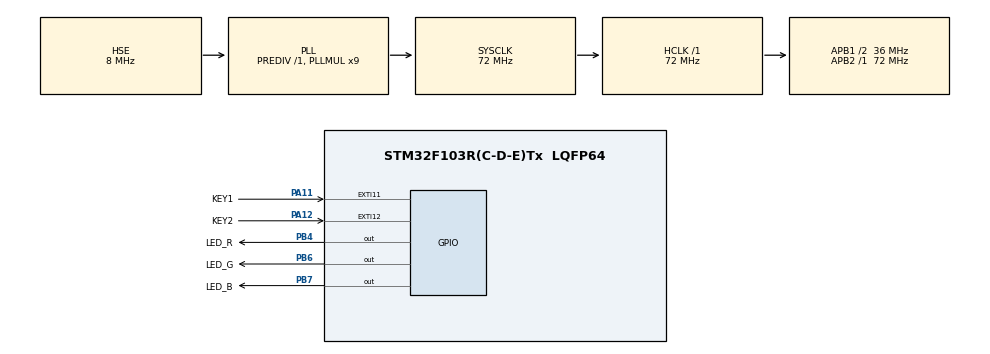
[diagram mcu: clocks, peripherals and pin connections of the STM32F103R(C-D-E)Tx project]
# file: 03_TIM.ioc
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Mcu.Family=STM32F1
Mcu.Name=STM32F103R(C-D-E)Tx
Mcu.Package=LQFP64
NVIC.EXTI15_10_IRQn=true\:0\:0\:false\:false\:true\:true\:true\:true
NVIC.PriorityGroup=NVIC_PRIORITYGROUP_4
NVIC.TIM1_UP_IRQn=true\:0\:0\:false\:false\:true\:true\:true\:true
PA11.GPIO_Label=KEY1
PA11.GPIO_ModeDefaultEXTI=GPIO_MODE_IT_RISING_FALLING
PA11.GPIO_PuPd=GPIO_PULLUP
PA11.Signal=GPXTI11
PA12.GPIO_Label=KEY2
PA12.GPIO_ModeDefaultEXTI=GPIO_MODE_IT_RISING_FALLING
PA12.GPIO_PuPd=GPIO_PULLUP
PA12.Signal=GPXTI12
PA13.Mode=Serial_Wire
PA13.Signal=SYS_JTMS-SWDIO
PA14.Mode=Serial_Wire
PA14.Signal=SYS_JTCK-SWCLK
PB4.GPIO_Label=LED_R
PB4.GPIO_PuPd=GPIO_PULLUP
PB4.PinState=GPIO_PIN_SET
PB4.Signal=GPIO_Output
PB6.GPIO_Label=LED_G
PB6.GPIO_PuPd=GPIO_PULLUP
PB6.PinState=GPIO_PIN_SET
PB6.Signal=GPIO_Output
PB7.GPIO_Label=LED_B
PB7.GPIO_PuPd=GPIO_PULLUP
PB7.PinState=GPIO_PIN_SET
PB7.Signal=GPIO_Output
PD0-OSC_IN.Mode=HSE-External-Oscillator
PD0-OSC_IN.Signal=RCC_OSC_IN
PD1-OSC_OUT.Mode=HSE-External-Oscillator
PD1-OSC_OUT.Signal=RCC_OSC_OUT
ProjectManager.HeapSize=0x200
ProjectManager.StackSize=0x400
ProjectManager.TargetToolchain=MDK-ARM V5.32
RCC.AHBFreq_Value=72000000
RCC.APB1CLKDivider=RCC_HCLK_DIV2
RCC.APB1Freq_Value=36000000
RCC.APB1TimFreq_Value=72000000
RCC.APB2Freq_Value=72000000
RCC.APB2TimFreq_Value=72000000
RCC.HCLKFreq_Value=72000000
RCC.PLLMUL=RCC_PLL_MUL9
RCC.PLLSourceVirtual=RCC_PLLSOURCE_HSE
RCC.SYSCLKFreq_VALUE=72000000
RCC.SYSCLKSource=RCC_SYSCLKSOURCE_PLLCLK
RCC.USBFreq_Value=72000000
TIM1.AutoReloadPreload=TIM_AUTORELOAD_PRELOAD_ENABLE
TIM1.Period=9999
TIM1.Prescaler=71
VP_TIM1_VS_ClockSourceINT.Mode=Internal
board=custom

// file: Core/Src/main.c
/* USER CODE BEGIN Header */
/**
  ******************************************************************************
  * @file           : main.c
  * @brief          : Main program body
  ******************************************************************************
  * @attention
  *
  * Copyright (c) 2025 STMicroelectronics.
  * All rights reserved.
  *
  * This software is licensed under terms that can be found in the LICENSE file
  * in the root directory of this software component.
  * If no LICENSE file comes with this software, it is provided AS-IS.
  *
  ******************************************************************************
  */
/* USER CODE END Header */
#include "main.h"
#include "tim.h"
#include "gpio.h"

void SystemClock_Config(void);

int main(void)
{

  /* MCU Configuration--------------------------------------------------------*/

  /* Reset of all peripherals, Initializes the Flash interface and the Systick. */
  HAL_Init();

  /* Configure the system clock */
  SystemClock_Config();

  /* Initialize all configured peripherals */
  MX_GPIO_Init();
  MX_TIM1_Init();
  /* USER CODE BEGIN 2 */
  HAL_TIM_Base_Start_IT(&htim1);
  /* USER CODE END 2 */

  /* Infinite loop */
  /* USER CODE BEGIN WHILE */
  while (1)
  {

    HAL_GPIO_TogglePin(LED_G_GPIO_Port,LED_G_Pin);
    HAL_Delay(100);
    /* USER CODE END WHILE */

  }
}

void SystemClock_Config(void)
{
  RCC_OscInitTypeDef RCC_OscInitStruct = {0};
  RCC_ClkInitTypeDef RCC_ClkInitStruct = {0};

  /** Initializes the RCC Oscillators according to the specified parameters
  * in the RCC_OscInitTypeDef structure.
  */
  RCC_OscInitStruct.OscillatorType = RCC_OSCILLATORTYPE_HSE;
  RCC_OscInitStruct.HSEState = RCC_HSE_ON;
  RCC_OscInitStruct.HSEPredivValue = RCC_HSE_PREDIV_DIV1;
  RCC_OscInitStruct.HSIState = RCC_HSI_ON;
  RCC_OscInitStruct.PLL.PLLState = RCC_PLL_ON;
  RCC_OscInitStruct.PLL.PLLSource = RCC_PLLSOURCE_HSE;
  RCC_OscInitStruct.PLL.PLLMUL = RCC_PLL_MUL9;
  if (HAL_RCC_OscConfig(&RCC_OscInitStruct) != HAL_OK)
  {
    Error_Handler();
  }

  /** Initializes the CPU, AHB and APB buses clocks
  */
  RCC_ClkInitStruct.ClockType = RCC_CLOCKTYPE_HCLK|RCC_CLOCKTYPE_SYSCLK
                              |RCC_CLOCKTYPE_PCLK1|RCC_CLOCKTYPE_PCLK2;
  RCC_ClkInitStruct.SYSCLKSource = RCC_SYSCLKSOURCE_PLLCLK;
  RCC_ClkInitStruct.AHBCLKDivider = RCC_SYSCLK_DIV1;
  RCC_ClkInitStruct.APB1CLKDivider = RCC_HCLK_DIV2;
  RCC_ClkInitStruct.APB2CLKDivider = RCC_HCLK_DIV1;

  if (HAL_RCC_ClockConfig(&RCC_ClkInitStruct, FLASH_LATENCY_2) != HAL_OK)
  {
    Error_Handler();
  }
}

/* USER CODE BEGIN 4 */
void HAL_TIM_PeriodElapsedCallback(TIM_HandleTypeDef *htim)
{
  static uint16_t cnt = 0;
  if(htim == &htim1)
  {
    cnt++;
    if(cnt >= 50)
    {
      HAL_GPIO_TogglePin(LED_R_GPIO_Port,LED_R_Pin);
      cnt = 0;
    }
  }
}

void HAL_GPIO_EXTI_Callback(uint16_t GPIO_Pin)
{
  if(GPIO_Pin == KEY1_Pin)
  {
    if(HAL_GPIO_ReadPin(KEY1_GPIO_Port,KEY1_Pin) == GPIO_PIN_RESET)
    {
      HAL_GPIO_WritePin(LED_B_GPIO_Port,LED_B_Pin,GPIO_PIN_RESET);
    }
    else
    {
      HAL_GPIO_WritePin(LED_B_GPIO_Port,LED_B_Pin,GPIO_PIN_SET);
    }
  }
}

/* USER CODE END 4 */

void Error_Handler(void)
{
  __disable_irq();
  while (1)
  {
  }
}
